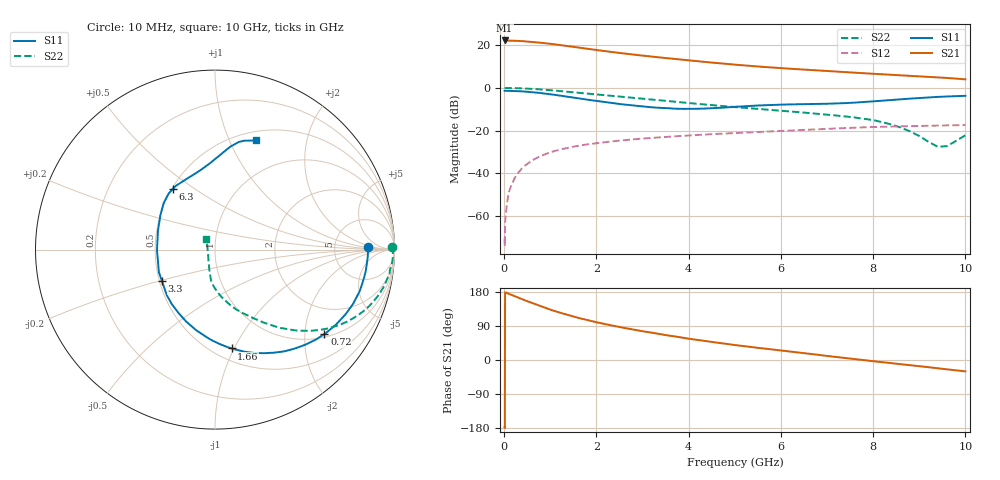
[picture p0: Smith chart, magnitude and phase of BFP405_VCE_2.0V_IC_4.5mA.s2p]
! Infineon Technologies  Discrete & RF Semiconductors
! BFP405
! VCE =  2.0 V,  IC =  4.5 mA
! Common Emitter S-Parameters:  Jan 2016
# GHz  S  MA  R  50
!  f  S11  S21  S12  S22
! GHz  MAG  ANG  MAG  ANG  MAG  ANG  MAG  ANG
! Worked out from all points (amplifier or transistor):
!   233 points, 10 MHz to 10 GHz, reference 50 ohm
!   highest |S21| = 22.1 dB at 10 MHz (marker M1)
!   |S21| within 3 dB of that: start of sweep to 1.503 GHz
!   unconditionally stable (mu >= 1): start of sweep to 15.58 MHz; 3.498 GHz to end of sweep
!   at 200 MHz: K = 0.09, MSG = 32.7 dB, |S12| = -43.5 dB
!   at 1.74 GHz: K = 0.52, MSG = 22.5 dB, |S12| = -26.6 dB
!   at 10 GHz: K = 1.48, MAG = 6.6 dB, |S12| = -17.4 dB
!   S11 on the Smith chart (normalised r, x): 10 MHz: 12, +1; 720 MHz: 1.09, -2.52; 1.66 GHz: 0.61, -0.98; 3.3 GHz: 0.52, -0.21; 6.3 GHz: 0.51, +0.41; 10 GHz: 0.60, +1.26
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0.01  0.8514 0.8  12.78 -177.6  0.0003 -76.2  0.9889 0.9
0.015  0.8519 -0.1  12.73 -179.6  0.0002 82.1  0.9889 0.3
0.02  0.8526 -1.0  12.7 178.4  0.0007 91.2  0.989 -0.2
0.105  0.8494 -5.5  12.66 174.3  0.0037 86.0  0.9918 -2.6
0.26  0.841 -13.8  12.56 166.8  0.0089 83.6  0.9807 -6.8
0.48  0.8143 -25.4  12.14 156.1  0.0161 77.6  0.9626 -12.4
0.72  0.77 -37.6  11.51 145.1  0.0235 71.8  0.9285 -18.2
1.1  0.6856 -55.8  10.36 129.0  0.0335 63.7  0.8619 -26.2
1.4  0.6151 -69.4  9.379 118.0  0.0402 58.4  0.8058 -31.6
1.66  0.5582 -80.5  8.585 109.6  0.0452 54.4  0.7581 -35.6
1.68  0.5543 -81.3  8.526 108.9  0.0455 54.2  0.7546 -35.9
2  0.4927 -94.9  7.651 99.7  0.051 50.1  0.7006 -40.2
2.42  0.4296 -112.5  6.693 89.0  0.0573 45.7  0.6368 -45.0
3.3  0.344 -149.1  5.223 70.1  0.0689 37.9  0.5203 -53.6
3.4  0.3394 -153.5  5.09 68.0  0.0701 37.1  0.508 -54.6
4  0.3233 -179.5  4.378 56.2  0.0772 32.5  0.4409 -60.5
5.1  0.3647 145.4  3.41 38.1  0.0888 24.9  0.3479 -71.2
6.3  0.411 124.8  2.75 21.0  0.1017 17.6  0.275 -80.8
6.8  0.4201 115.6  2.544 13.8  0.1076 14.3  0.2471 -85.0
8.4  0.5208 87.8  2.007 -8.4  0.1247 1.7  0.1387 -101.8
9.4  0.6138 77.6  1.756 -21.9  0.1316 -6.0  0.042 -160.2
10  0.6498 69.4  1.579 -30.0  0.1347 -9.9  0.078 128.0
